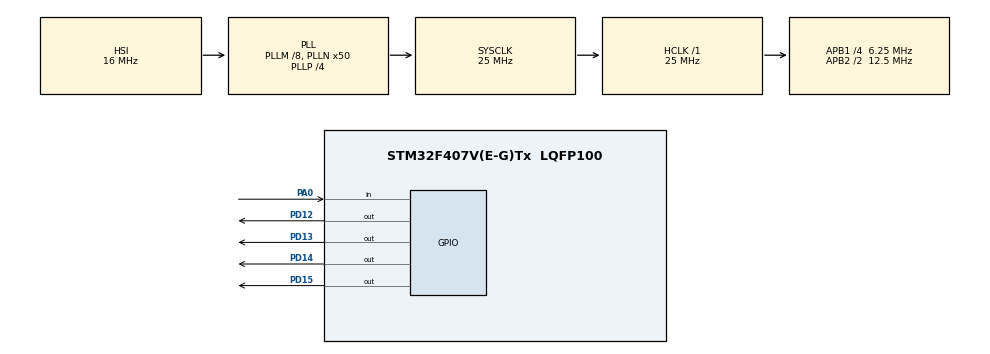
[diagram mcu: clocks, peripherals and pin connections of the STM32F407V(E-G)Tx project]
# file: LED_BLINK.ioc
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Mcu.Family=STM32F4
Mcu.Name=STM32F407V(E-G)Tx
Mcu.Package=LQFP100
NVIC.PriorityGroup=NVIC_PRIORITYGROUP_0
PA0-WKUP.Signal=GPIO_Input
PD12.Signal=GPIO_Output
PD13.Signal=GPIO_Output
PD14.Signal=GPIO_Output
PD15.Signal=GPIO_Output
ProjectManager.HeapSize=0x200
ProjectManager.StackSize=0x400
ProjectManager.TargetToolchain=STM32CubeIDE
RCC.48MHZClocksFreq_Value=14285714.285714285
RCC.AHBFreq_Value=25000000
RCC.APB1CLKDivider=RCC_HCLK_DIV4
RCC.APB1Freq_Value=6250000
RCC.APB1TimFreq_Value=12500000
RCC.APB2CLKDivider=RCC_HCLK_DIV2
RCC.APB2Freq_Value=12500000
RCC.APB2TimFreq_Value=25000000
RCC.CortexFreq_Value=25000000
RCC.HCLKFreq_Value=25000000
RCC.HSE_VALUE=8000000
RCC.HSI_VALUE=16000000
RCC.PLLM=8
RCC.PLLN=50
RCC.PLLP=RCC_PLLP_DIV4
RCC.PLLQ=7
RCC.SYSCLKFreq_VALUE=25000000
RCC.SYSCLKSource=RCC_SYSCLKSOURCE_PLLCLK
RCC.VCOOutputFreq_Value=100000000
board=STM32F407G-DISC1

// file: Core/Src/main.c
/* USER CODE BEGIN Header */
/**
  ******************************************************************************
  * @file           : main.c
  * @brief          : Main program body
  ******************************************************************************
  * @attention
  *
  * Copyright (c) 2022 STMicroelectronics.
  * All rights reserved.
  *
  * This software is licensed under terms that can be found in the LICENSE file
  * in the root directory of this software component.
  * If no LICENSE file comes with this software, it is provided AS-IS.
  *
  ******************************************************************************
  */
/* USER CODE END Header */
#include "main.h"

/* USER CODE BEGIN PV */
int butonDurum;
int counter=0;
int a;
/* USER CODE END PV */

void SystemClock_Config(void);
static void MX_GPIO_Init(void);

int main(void)
{

  /* MCU Configuration--------------------------------------------------------*/

  /* Reset of all peripherals, Initializes the Flash interface and the Systick. */
  HAL_Init();

  /* Configure the system clock */
  SystemClock_Config();

  /* Initialize all configured peripherals */
  MX_GPIO_Init();

  /* Infinite loop */
  while (1)
  {

    /* USER CODE BEGIN 3 */
	butonDurum=HAL_GPIO_ReadPin(GPIOA, GPIO_PIN_0);

if(butonDurum==1){
	 HAL_GPIO_WritePin(GPIOD, GPIO_PIN_12,GPIO_PIN_SET);
	  HAL_GPIO_WritePin(GPIOD, GPIO_PIN_13,GPIO_PIN_SET);
	  HAL_GPIO_WritePin(GPIOD, GPIO_PIN_14,GPIO_PIN_SET);
	  HAL_GPIO_WritePin(GPIOD, GPIO_PIN_15,GPIO_PIN_SET);

		while(butonDurum==0)
		{

		}

		counter++;
		while(butonDurum==1){
			HAL_Delay(200);
						butonDurum=HAL_GPIO_ReadPin(GPIOA, GPIO_PIN_0);

		}

  }
else if(butonDurum==0){

	HAL_GPIO_WritePin(GPIOD, GPIO_PIN_12,GPIO_PIN_RESET);

		  HAL_GPIO_WritePin(GPIOD, GPIO_PIN_13,GPIO_PIN_RESET);

		  HAL_GPIO_WritePin(GPIOD, GPIO_PIN_14,GPIO_PIN_RESET);

		  HAL_GPIO_WritePin(GPIOD, GPIO_PIN_15,GPIO_PIN_RESET);
}
  }
  /* USER CODE END 3 */
}

void SystemClock_Config(void)
{
  RCC_OscInitTypeDef RCC_OscInitStruct = {0};
  RCC_ClkInitTypeDef RCC_ClkInitStruct = {0};

  /** Configure the main internal regulator output voltage
  */
  __HAL_RCC_PWR_CLK_ENABLE();
  __HAL_PWR_VOLTAGESCALING_CONFIG(PWR_REGULATOR_VOLTAGE_SCALE1);

  /** Initializes the RCC Oscillators according to the specified parameters
  * in the RCC_OscInitTypeDef structure.
  */
  RCC_OscInitStruct.OscillatorType = RCC_OSCILLATORTYPE_HSI;
  RCC_OscInitStruct.HSIState = RCC_HSI_ON;
  RCC_OscInitStruct.HSICalibrationValue = RCC_HSICALIBRATION_DEFAULT;
  RCC_OscInitStruct.PLL.PLLState = RCC_PLL_ON;
  RCC_OscInitStruct.PLL.PLLSource = RCC_PLLSOURCE_HSI;
  RCC_OscInitStruct.PLL.PLLM = 8;
  RCC_OscInitStruct.PLL.PLLN = 50;
  RCC_OscInitStruct.PLL.PLLP = RCC_PLLP_DIV4;
  RCC_OscInitStruct.PLL.PLLQ = 7;
  if (HAL_RCC_OscConfig(&RCC_OscInitStruct) != HAL_OK)
  {
    Error_Handler();
  }

  /** Initializes the CPU, AHB and APB buses clocks
  */
  RCC_ClkInitStruct.ClockType = RCC_CLOCKTYPE_HCLK|RCC_CLOCKTYPE_SYSCLK
                              |RCC_CLOCKTYPE_PCLK1|RCC_CLOCKTYPE_PCLK2;
  RCC_ClkInitStruct.SYSCLKSource = RCC_SYSCLKSOURCE_PLLCLK;
  RCC_ClkInitStruct.AHBCLKDivider = RCC_SYSCLK_DIV1;
  RCC_ClkInitStruct.APB1CLKDivider = RCC_HCLK_DIV4;
  RCC_ClkInitStruct.APB2CLKDivider = RCC_HCLK_DIV2;

  if (HAL_RCC_ClockConfig(&RCC_ClkInitStruct, FLASH_LATENCY_0) != HAL_OK)
  {
    Error_Handler();
  }
}

static void MX_GPIO_Init(void)
{
  GPIO_InitTypeDef GPIO_InitStruct = {0};

  /* GPIO Ports Clock Enable */
  __HAL_RCC_GPIOA_CLK_ENABLE();
  __HAL_RCC_GPIOD_CLK_ENABLE();

  /*Configure GPIO pin Output Level */
  HAL_GPIO_WritePin(GPIOD, GPIO_PIN_12|GPIO_PIN_13|GPIO_PIN_14|GPIO_PIN_15, GPIO_PIN_RESET);

  /*Configure GPIO pin : PA0 */
  GPIO_InitStruct.Pin = GPIO_PIN_0;
  GPIO_InitStruct.Mode = GPIO_MODE_INPUT;
  GPIO_InitStruct.Pull = GPIO_NOPULL;
  HAL_GPIO_Init(GPIOA, &GPIO_InitStruct);

  /*Configure GPIO pins : PD12 PD13 PD14 PD15 */
  GPIO_InitStruct.Pin = GPIO_PIN_12|GPIO_PIN_13|GPIO_PIN_14|GPIO_PIN_15;
  GPIO_InitStruct.Mode = GPIO_MODE_OUTPUT_PP;
  GPIO_InitStruct.Pull = GPIO_NOPULL;
  GPIO_InitStruct.Speed = GPIO_SPEED_FREQ_LOW;
  HAL_GPIO_Init(GPIOD, &GPIO_InitStruct);

}

void Error_Handler(void)
{
  __disable_irq();
  while (1)
  {
  }
}
